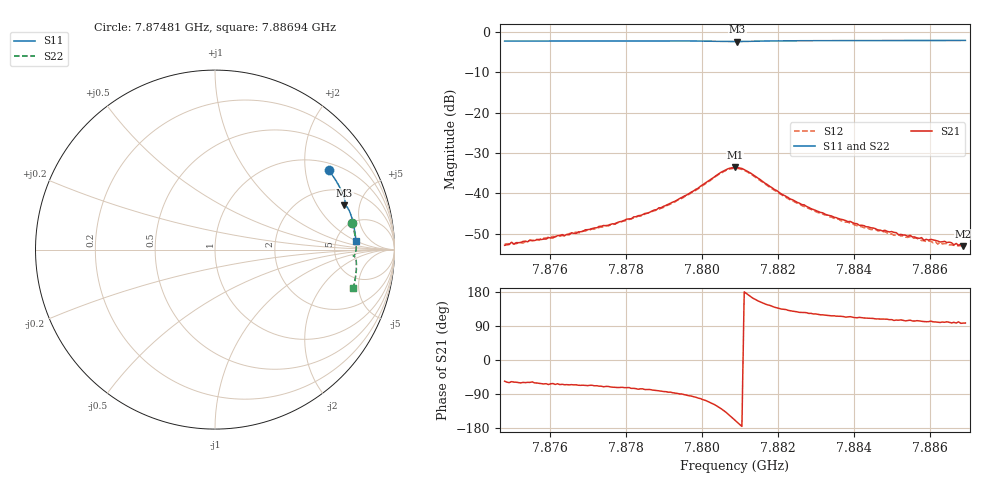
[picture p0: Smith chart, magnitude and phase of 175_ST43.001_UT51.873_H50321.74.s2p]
#  HZ  S  DB  R  50.00
! Rohde & Schwarz Vector Network Analyzer
! Rohde-Schwarz,ZNB20-2Port,1311601062101988,3.16
! Created: UTC 1/12/2023, 6:42:21 PM
! freq[Hz]  db:S11  ang:S11  db:S21  ang:S21  db:S12  ang:S12  db:S22  ang:S22
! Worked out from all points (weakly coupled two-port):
!   201 points, 7.87481 GHz to 7.88694 GHz, reference 50 ohm
!   highest |S21| = -33.58 dB at 7.88087 GHz (marker M1); lowest = -53.0 dB at 7.88688 GHz (marker M2)
!   lowest |S11| = -2.4 dB at 7.88093 GHz (marker M3), VSWR 7.40, Z = 151 + j178 ohm
!   |S11| at or under -10 dB: nowhere
!   |S22| runs from -2.3 to -1.9 dB; largest |S21 - S12| = 0.0014
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7.874806e9  -2.24 35.0  -52.89 -56.0  -52.65 -60.0  -2.18 11.1
7.874988e9  -2.24 34.5  -52.13 -57.1  -52.53 -59.9  -2.17 10.6
7.875715e9  -2.22 32.5  -51.42 -61.6  -51.65 -65.6  -2.15 8.9
7.876868e9  -2.20 29.3  -49.43 -66.5  -49.34 -69.3  -2.13 6.2
7.877717e9  -2.20 27.0  -47.65 -71.9  -47.45 -75.6  -2.10 4.2
7.878869e9  -2.19 23.8  -43.59 -81.4  -43.96 -85.0  -2.08 1.5
7.879597e9  -2.20 21.7  -40.42 -92.8  -40.53 -96.1  -2.09 -0.3
7.880568e9  -2.32 19.2  -34.48 -133.1  -34.64 -136.7  -2.22 -2.5
7.880871e9  -2.36 19.0  -33.58 -158.9  -33.77 -162.3  -2.26 -2.6
7.880932e9  -2.36 19.0  -33.60 -164.6  -33.80 -167.9  -2.26 -2.6
7.881174e9  -2.32 18.7  -34.42 175.3  -34.57 171.5  -2.22 -2.6
7.882327e9  -2.16 15.7  -41.42 129.9  -41.62 127.0  -2.05 -5.1
7.882933e9  -2.14 14.0  -44.00 121.4  -44.26 118.6  -2.01 -6.6
7.884146e9  -2.12 10.7  -47.95 112.5  -48.18 108.6  -1.98 -9.3
7.884935e9  -2.11 8.7  -49.58 106.3  -50.04 102.9  -1.96 -11.1
7.885784e9  -2.10 6.5  -50.99 102.3  -51.71 99.5  -1.95 -13.0
7.885845e9  -2.09 6.3  -51.65 101.4  -51.73 98.3  -1.95 -13.1
7.886148e9  -2.09 5.5  -51.67 100.5  -51.95 99.1  -1.95 -13.7
7.886209e9  -2.09 5.3  -51.82 99.6  -52.60 96.4  -1.95 -13.9
7.886269e9  -2.09 5.2  -52.07 99.0  -52.17 95.2  -1.95 -14.0
7.886876e9  -2.09 3.6  -53.04 97.5  -53.08 93.3  -1.94 -15.3
7.886936e9  -2.08 3.5  -52.95 97.7  -53.11 94.2  -1.95 -15.4
